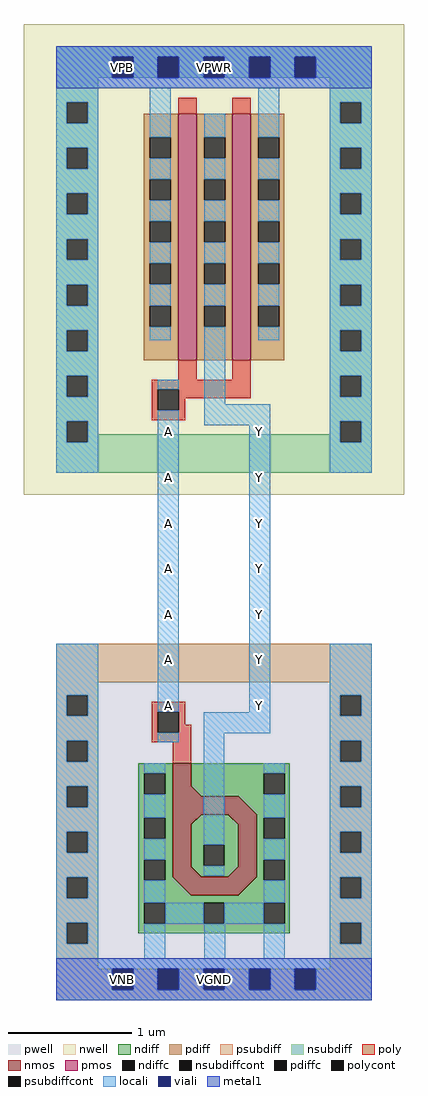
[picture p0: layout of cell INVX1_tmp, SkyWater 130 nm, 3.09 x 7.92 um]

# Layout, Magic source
magic
tech sky130A
magscale 1 2
<< nwell >>
rect -87 786 531 1550
<< pwell >>
rect -34 -34 478 544
<< nmos >>
rect 155 297 185 350
tri 185 297 201 313 sw
rect 155 267 261 297
tri 261 267 291 297 sw
rect 155 166 185 267
tri 185 251 201 267 nw
tri 245 251 261 267 ne
tri 185 166 201 182 sw
tri 245 166 261 182 se
rect 261 166 291 267
tri 155 136 185 166 ne
rect 185 136 261 166
tri 261 136 291 166 nw
<< pmos >>
rect 164 1004 194 1404
rect 252 1004 282 1404
<< ndiff >>
rect 99 334 155 350
rect 99 300 109 334
rect 143 300 155 334
rect 99 262 155 300
rect 185 334 345 350
rect 185 313 303 334
tri 185 297 201 313 ne
rect 201 300 303 313
rect 337 300 345 334
rect 201 297 345 300
tri 261 267 291 297 ne
rect 99 228 109 262
rect 143 228 155 262
rect 99 194 155 228
rect 99 160 109 194
rect 143 160 155 194
tri 185 251 201 267 se
rect 201 251 245 267
tri 245 251 261 267 sw
rect 185 218 261 251
rect 185 184 205 218
rect 239 184 261 218
rect 185 182 261 184
tri 185 166 201 182 ne
rect 201 166 245 182
tri 245 166 261 182 nw
rect 291 262 345 297
rect 291 228 303 262
rect 337 228 345 262
rect 291 194 345 228
rect 99 136 155 160
tri 155 136 185 166 sw
tri 261 136 291 166 se
rect 291 160 303 194
rect 337 160 345 194
rect 291 136 345 160
rect 99 124 345 136
rect 99 90 109 124
rect 143 90 205 124
rect 239 90 303 124
rect 337 90 345 124
rect 99 74 345 90
<< pdiff >>
rect 108 1366 164 1404
rect 108 1332 118 1366
rect 152 1332 164 1366
rect 108 1298 164 1332
rect 108 1264 118 1298
rect 152 1264 164 1298
rect 108 1230 164 1264
rect 108 1196 118 1230
rect 152 1196 164 1230
rect 108 1162 164 1196
rect 108 1128 118 1162
rect 152 1128 164 1162
rect 108 1093 164 1128
rect 108 1059 118 1093
rect 152 1059 164 1093
rect 108 1004 164 1059
rect 194 1366 252 1404
rect 194 1332 206 1366
rect 240 1332 252 1366
rect 194 1298 252 1332
rect 194 1264 206 1298
rect 240 1264 252 1298
rect 194 1230 252 1264
rect 194 1196 206 1230
rect 240 1196 252 1230
rect 194 1162 252 1196
rect 194 1128 206 1162
rect 240 1128 252 1162
rect 194 1093 252 1128
rect 194 1059 206 1093
rect 240 1059 252 1093
rect 194 1004 252 1059
rect 282 1366 336 1404
rect 282 1332 294 1366
rect 328 1332 336 1366
rect 282 1298 336 1332
rect 282 1264 294 1298
rect 328 1264 336 1298
rect 282 1230 336 1264
rect 282 1196 294 1230
rect 328 1196 336 1230
rect 282 1162 336 1196
rect 282 1128 294 1162
rect 328 1128 336 1162
rect 282 1093 336 1128
rect 282 1059 294 1093
rect 328 1059 336 1093
rect 282 1004 336 1059
<< ndiffc >>
rect 109 300 143 334
rect 303 300 337 334
rect 109 228 143 262
rect 109 160 143 194
rect 205 184 239 218
rect 303 228 337 262
rect 303 160 337 194
rect 109 90 143 124
rect 205 90 239 124
rect 303 90 337 124
<< pdiffc >>
rect 118 1332 152 1366
rect 118 1264 152 1298
rect 118 1196 152 1230
rect 118 1128 152 1162
rect 118 1059 152 1093
rect 206 1332 240 1366
rect 206 1264 240 1298
rect 206 1196 240 1230
rect 206 1128 240 1162
rect 206 1059 240 1093
rect 294 1332 328 1366
rect 294 1264 328 1298
rect 294 1196 328 1230
rect 294 1128 328 1162
rect 294 1059 328 1093
<< psubdiff >>
rect -34 482 478 544
rect -34 461 34 482
rect -34 427 -17 461
rect 17 427 34 461
rect 410 461 478 482
rect -34 387 34 427
rect -34 353 -17 387
rect 17 353 34 387
rect 410 427 427 461
rect 461 427 478 461
rect -34 313 34 353
rect 410 387 478 427
rect 410 353 427 387
rect 461 353 478 387
rect -34 279 -17 313
rect 17 279 34 313
rect -34 239 34 279
rect -34 205 -17 239
rect 17 205 34 239
rect -34 165 34 205
rect -34 131 -17 165
rect 17 131 34 165
rect -34 91 34 131
rect -34 57 -17 91
rect 17 57 34 91
rect 410 313 478 353
rect 410 279 427 313
rect 461 279 478 313
rect 410 239 478 279
rect 410 205 427 239
rect 461 205 478 239
rect 410 165 478 205
rect 410 131 427 165
rect 461 131 478 165
rect 410 91 478 131
rect -34 17 34 57
rect 410 57 427 91
rect 461 57 478 91
rect 410 17 478 57
rect -34 -17 57 17
rect 91 -17 131 17
rect 165 -17 205 17
rect 239 -17 279 17
rect 313 -17 353 17
rect 387 -17 478 17
rect -34 -34 478 -17
<< nsubdiff >>
rect -34 1497 478 1514
rect -34 1463 57 1497
rect 91 1463 131 1497
rect 165 1463 205 1497
rect 239 1463 279 1497
rect 313 1463 353 1497
rect 387 1463 478 1497
rect -34 1423 34 1463
rect -34 1389 -17 1423
rect 17 1389 34 1423
rect 410 1423 478 1463
rect -34 1349 34 1389
rect -34 1315 -17 1349
rect 17 1315 34 1349
rect -34 1275 34 1315
rect -34 1241 -17 1275
rect 17 1241 34 1275
rect -34 1201 34 1241
rect -34 1167 -17 1201
rect 17 1167 34 1201
rect -34 1127 34 1167
rect -34 1093 -17 1127
rect 17 1093 34 1127
rect -34 1053 34 1093
rect -34 1019 -17 1053
rect 17 1019 34 1053
rect -34 979 34 1019
rect 410 1389 427 1423
rect 461 1389 478 1423
rect 410 1349 478 1389
rect 410 1315 427 1349
rect 461 1315 478 1349
rect 410 1275 478 1315
rect 410 1241 427 1275
rect 461 1241 478 1275
rect 410 1201 478 1241
rect 410 1167 427 1201
rect 461 1167 478 1201
rect 410 1127 478 1167
rect 410 1093 427 1127
rect 461 1093 478 1127
rect 410 1053 478 1093
rect 410 1019 427 1053
rect 461 1019 478 1053
rect -34 945 -17 979
rect 17 945 34 979
rect -34 905 34 945
rect 410 979 478 1019
rect 410 945 427 979
rect 461 945 478 979
rect -34 871 -17 905
rect 17 884 34 905
rect 410 905 478 945
rect 410 884 427 905
rect 17 871 427 884
rect 461 871 478 905
rect -34 822 478 871
<< psubdiffcont >>
rect -17 427 17 461
rect -17 353 17 387
rect 427 427 461 461
rect 427 353 461 387
rect -17 279 17 313
rect -17 205 17 239
rect -17 131 17 165
rect -17 57 17 91
rect 427 279 461 313
rect 427 205 461 239
rect 427 131 461 165
rect 427 57 461 91
rect 57 -17 91 17
rect 131 -17 165 17
rect 205 -17 239 17
rect 279 -17 313 17
rect 353 -17 387 17
<< nsubdiffcont >>
rect 57 1463 91 1497
rect 131 1463 165 1497
rect 205 1463 239 1497
rect 279 1463 313 1497
rect 353 1463 387 1497
rect -17 1389 17 1423
rect -17 1315 17 1349
rect -17 1241 17 1275
rect -17 1167 17 1201
rect -17 1093 17 1127
rect -17 1019 17 1053
rect 427 1389 461 1423
rect 427 1315 461 1349
rect 427 1241 461 1275
rect 427 1167 461 1201
rect 427 1093 461 1127
rect 427 1019 461 1053
rect -17 945 17 979
rect 427 945 461 979
rect -17 871 17 905
rect 427 871 461 905
<< poly >>
rect 164 1404 194 1430
rect 252 1404 282 1430
rect 164 973 194 1004
rect 252 973 282 1004
rect 121 957 282 973
rect 121 923 131 957
rect 165 943 282 957
rect 165 923 175 943
rect 121 907 175 923
rect 121 434 175 450
rect 121 400 131 434
rect 165 413 175 434
rect 165 400 185 413
rect 121 384 185 400
rect 155 350 185 384
<< polycont >>
rect 131 923 165 957
rect 131 400 165 434
<< locali >>
rect -34 1497 478 1514
rect -34 1463 57 1497
rect 91 1463 131 1497
rect 165 1463 205 1497
rect 239 1463 279 1497
rect 313 1463 353 1497
rect 387 1463 478 1497
rect -34 1446 478 1463
rect -34 1423 34 1446
rect -34 1389 -17 1423
rect 17 1389 34 1423
rect -34 1349 34 1389
rect -34 1315 -17 1349
rect 17 1315 34 1349
rect -34 1275 34 1315
rect -34 1241 -17 1275
rect 17 1241 34 1275
rect -34 1201 34 1241
rect -34 1167 -17 1201
rect 17 1167 34 1201
rect -34 1127 34 1167
rect -34 1093 -17 1127
rect 17 1093 34 1127
rect -34 1053 34 1093
rect -34 1019 -17 1053
rect 17 1019 34 1053
rect 118 1366 152 1446
rect 118 1298 152 1332
rect 118 1230 152 1264
rect 118 1162 152 1196
rect 118 1093 152 1128
rect 118 1037 152 1059
rect 206 1366 240 1404
rect 206 1298 240 1332
rect 206 1230 240 1264
rect 206 1162 240 1196
rect 206 1093 240 1128
rect -34 979 34 1019
rect -34 945 -17 979
rect 17 945 34 979
rect -34 905 34 945
rect -34 871 -17 905
rect 17 871 34 905
rect -34 822 34 871
rect 131 957 165 973
rect -34 461 34 544
rect -34 427 -17 461
rect 17 427 34 461
rect -34 387 34 427
rect -34 353 -17 387
rect 17 353 34 387
rect 131 434 165 923
rect 206 933 240 1059
rect 294 1366 328 1446
rect 294 1298 328 1332
rect 294 1230 328 1264
rect 294 1162 328 1196
rect 294 1093 328 1128
rect 294 1037 328 1059
rect 410 1423 478 1446
rect 410 1389 427 1423
rect 461 1389 478 1423
rect 410 1349 478 1389
rect 410 1315 427 1349
rect 461 1315 478 1349
rect 410 1275 478 1315
rect 410 1241 427 1275
rect 461 1241 478 1275
rect 410 1201 478 1241
rect 410 1167 427 1201
rect 461 1167 478 1201
rect 410 1127 478 1167
rect 410 1093 427 1127
rect 461 1093 478 1127
rect 410 1053 478 1093
rect 410 1019 427 1053
rect 461 1019 478 1053
rect 410 979 478 1019
rect 410 945 427 979
rect 461 945 478 979
rect 206 899 313 933
rect 279 433 313 899
rect 410 905 478 945
rect 410 871 427 905
rect 461 871 478 905
rect 410 822 478 871
rect 131 384 165 400
rect 205 399 313 433
rect 410 461 478 544
rect 410 427 427 461
rect 461 427 478 461
rect -34 313 34 353
rect -34 279 -17 313
rect 17 279 34 313
rect -34 239 34 279
rect -34 205 -17 239
rect 17 205 34 239
rect -34 165 34 205
rect -34 131 -17 165
rect 17 131 34 165
rect -34 91 34 131
rect -34 57 -17 91
rect 17 57 34 91
rect -34 34 34 57
rect 109 334 143 350
rect 109 262 143 300
rect 109 194 143 228
rect 205 218 239 399
rect 410 387 478 427
rect 410 353 427 387
rect 461 353 478 387
rect 205 168 239 184
rect 303 334 337 350
rect 303 262 337 300
rect 303 194 337 228
rect 109 124 143 160
rect 303 124 337 160
rect 143 90 205 124
rect 239 90 303 124
rect 109 34 143 90
rect 206 34 240 90
rect 303 34 337 90
rect 410 313 478 353
rect 410 279 427 313
rect 461 279 478 313
rect 410 239 478 279
rect 410 205 427 239
rect 461 205 478 239
rect 410 165 478 205
rect 410 131 427 165
rect 461 131 478 165
rect 410 91 478 131
rect 410 57 427 91
rect 461 57 478 91
rect 410 34 478 57
rect -34 17 478 34
rect -34 -17 57 17
rect 91 -17 131 17
rect 165 -17 205 17
rect 239 -17 279 17
rect 313 -17 353 17
rect 387 -17 478 17
rect -34 -34 478 -17
<< viali >>
rect 57 1463 91 1497
rect 131 1463 165 1497
rect 205 1463 239 1497
rect 279 1463 313 1497
rect 353 1463 387 1497
rect 57 -17 91 17
rect 131 -17 165 17
rect 205 -17 239 17
rect 279 -17 313 17
rect 353 -17 387 17
<< metal1 >>
rect -34 1497 478 1514
rect -34 1463 57 1497
rect 91 1463 131 1497
rect 165 1463 205 1497
rect 239 1463 279 1497
rect 313 1463 353 1497
rect 387 1463 478 1497
rect -34 1446 478 1463
rect -34 17 478 34
rect -34 -17 57 17
rect 91 -17 131 17
rect 165 -17 205 17
rect 239 -17 279 17
rect 313 -17 353 17
rect 387 -17 478 17
rect -34 -34 478 -17
<< labels >>
rlabel metal1 279 649 313 683 1 Y
port 1 n
rlabel metal1 279 723 313 757 1 Y
port 2 n
rlabel metal1 279 797 313 831 1 Y
port 3 n
rlabel metal1 279 575 313 609 1 Y
port 4 n
rlabel metal1 279 871 313 905 1 Y
port 5 n
rlabel metal1 279 501 313 535 1 Y
port 6 n
rlabel metal1 279 427 313 461 1 Y
port 7 n
rlabel metal1 131 649 165 683 1 A
port 8 n
rlabel metal1 131 723 165 757 1 A
port 9 n
rlabel metal1 131 797 165 831 1 A
port 10 n
rlabel metal1 131 575 165 609 1 A
port 11 n
rlabel metal1 131 871 165 905 1 A
port 12 n
rlabel metal1 131 501 165 535 1 A
port 13 n
rlabel metal1 131 427 165 461 1 A
port 14 n
rlabel metal1 -34 1446 478 1514 1 VPWR
port 15 n
rlabel metal1 -34 -34 478 34 1 VGND
port 16 n
rlabel nwell 57 1463 91 1497 1 VPB
port 17 n
rlabel pwell 57 -17 91 17 1 VNB
port 18 n
<< end >>
